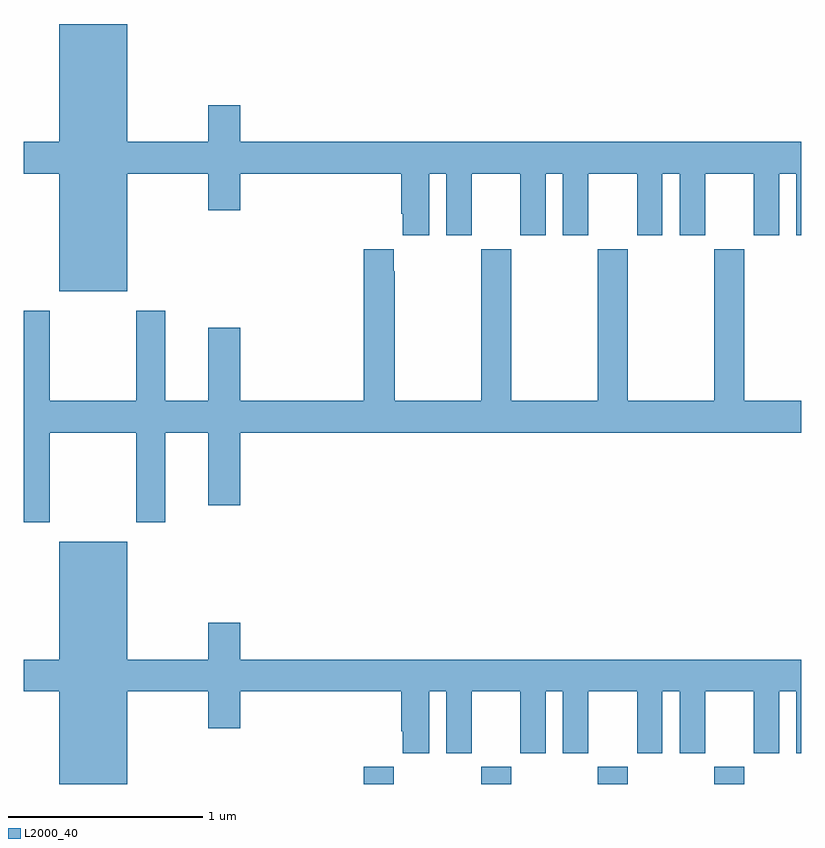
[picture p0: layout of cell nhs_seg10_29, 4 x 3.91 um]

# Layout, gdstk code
import gdstk
lib = gdstk.Library(unit=1e-6, precision=1e-09)
def R(c, l, rs):  # rectangles x0, y0, x1, y1
    for r in rs: c.add(gdstk.rectangle(r[:2], r[2:], *l))
def A(c, l, x, y, w, h, nx, ny, dx, dy):  # array of equal rectangles
    R(c, l, [(x+i*dx, y+j*dy, x+i*dx+w, y+j*dy+h) for i in range(nx) for j in range(ny)])
def P(c, l, *ps):  # polygons
    for p in ps: c.add(gdstk.Polygon(p, *l))
L2000_40 = (2000, 40)

nhs_seg10_29 = lib.new_cell('nhs_seg10_29')
A(nhs_seg10_29, L2000_40, 113.353, 1306.5, 0.155, 0.088, 3, 1, 0.6, 0)
R(nhs_seg10_29, L2000_40, [(112.748,1306.5,112.903,1306.588)])
P(nhs_seg10_29, L2000_40, [(111.532,1309.64),(111.95,1309.64),(111.95,1309.452),(112.114,1309.452),(112.114,1309.64),(112.943,1309.64),(112.943,1309.435),(112.949,1309.435),(112.949,1309.323),(113.086,1309.323),(113.086,1309.64),(113.174,1309.64),(113.174,1309.323),(113.305,1309.323),(113.305,1309.64),(113.555,1309.64),(113.555,1309.323),(113.686,1309.323),(113.686,1309.64),(113.774,1309.64),(113.774,1309.323),(113.905,1309.323),(113.905,1309.64),(114.155,1309.64),(114.155,1309.323),(114.286,1309.323),(114.286,1309.64),(114.374,1309.64),(114.374,1309.323),(114.505,1309.323),(114.505,1309.64),(114.755,1309.64),(114.755,1309.323),(114.886,1309.323),(114.886,1309.64),(114.974,1309.64),(114.974,1309.323),(115,1309.323),(115,1309.804),(112.114,1309.804),(112.114,1309.993),(111.95,1309.993),(111.95,1309.804),(111.532,1309.804),(111.532,1310.41),(111.182,1310.41),(111.182,1309.804),(111,1309.804),(111,1309.64),(111.182,1309.64),(111.182,1309.034),(111.532,1309.034)],
  [(111.135,1308.308),(111.58,1308.308),(111.58,1307.847),(111.727,1307.847),(111.727,1308.308),(111.95,1308.308),(111.95,1307.934),(112.114,1307.934),(112.114,1308.308),(115,1308.308),(115,1308.472),(114.708,1308.472),(114.708,1309.252),(114.553,1309.252),(114.553,1308.472),(114.108,1308.472),(114.108,1309.252),(113.953,1309.252),(113.953,1308.472),(113.508,1308.472),(113.508,1309.252),(113.353,1309.252),(113.353,1308.472),(112.908,1308.472),(112.908,1309.139),(112.903,1309.139),(112.903,1309.252),(112.748,1309.252),(112.748,1308.472),(112.114,1308.472),(112.114,1308.847),(111.95,1308.847),(111.95,1308.472),(111.727,1308.472),(111.727,1308.934),(111.58,1308.934),(111.58,1308.472),(111.135,1308.472),(111.135,1308.934),(111,1308.934),(111,1307.847),(111.135,1307.847)],
  [(111.532,1306.976),(111.95,1306.976),(111.95,1306.788),(112.114,1306.788),(112.114,1306.976),(112.943,1306.976),(112.943,1306.771),(112.949,1306.771),(112.949,1306.659),(113.086,1306.659),(113.086,1306.976),(113.174,1306.976),(113.174,1306.659),(113.305,1306.659),(113.305,1306.976),(113.555,1306.976),(113.555,1306.659),(113.686,1306.659),(113.686,1306.976),(113.774,1306.976),(113.774,1306.659),(113.905,1306.659),(113.905,1306.976),(114.155,1306.976),(114.155,1306.659),(114.286,1306.659),(114.286,1306.976),(114.374,1306.976),(114.374,1306.659),(114.505,1306.659),(114.505,1306.976),(114.755,1306.976),(114.755,1306.659),(114.886,1306.659),(114.886,1306.976),(114.974,1306.976),(114.974,1306.659),(115,1306.659),(115,1307.14),(112.114,1307.14),(112.114,1307.329),(111.95,1307.329),(111.95,1307.14),(111.532,1307.14),(111.532,1307.746),(111.182,1307.746),(111.182,1307.14),(111,1307.14),(111,1306.976),(111.182,1306.976),(111.182,1306.5),(111.532,1306.5)])

lib.write_gds('nhs_seg10_29.gds')
